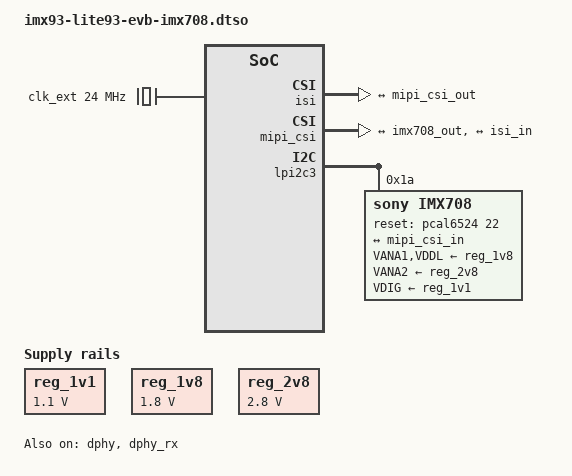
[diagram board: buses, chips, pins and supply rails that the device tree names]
// SPDX-License-Identifier: (GPL-2.0+ OR MIT)
/*
 * Copyright 2025 Wig Cheng <onlywig@gmail.com>
 */

#include <dt-bindings/gpio/gpio.h>

/dts-v1/;
/plugin/;

&{/} {
	clk_ext: clock-external {
		compatible = "fixed-clock";
		#clock-cells = <0>;
		clock-frequency = <24000000>;
		clock-output-names = "clk_ext";
	};

	reg_1v1: regulator-1v1 {
		compatible = "regulator-fixed";
		regulator-name = "1V1";
		regulator-min-microvolt = <1100000>;
		regulator-max-microvolt = <1100000>;
		regulator-always-on;
	};

	reg_1v8: regulator-1v8 {
		compatible = "regulator-fixed";
		regulator-name = "1V8";
		regulator-min-microvolt = <1800000>;
		regulator-max-microvolt = <1800000>;
		regulator-always-on;
	};

	reg_2v8: regulator-2v8 {
		compatible = "regulator-fixed";
		regulator-name = "2V8";
		regulator-min-microvolt = <2800000>;
		regulator-max-microvolt = <2800000>;
		regulator-always-on;
	};
};

&dphy {
	status = "okay";
};

&dphy_rx {
	status = "okay";
};

&isi {
	status = "okay";

	port {
		isi_in: endpoint {
			remote-endpoint = <&mipi_csi_out>;
		};
	};
};

&mipi_csi {
	snps,enable-embedded-data;
	dwc_color_16bit_enable;
	status = "okay";

	ports {
		#address-cells = <1>;
		#size-cells = <0>;

		port@0 {
			reg = <0>;

			mipi_csi_in: endpoint {
				remote-endpoint = <&imx708_out>;
				data-lanes = <1 2>;
				clock-lanes = <0>;
			};
		};

		port@1 {
			reg = <1>;

			mipi_csi_out: endpoint {
				remote-endpoint = <&isi_in>;
			};
		};
	};
};

&lpi2c3 {
	#address-cells = <1>;
	#size-cells = <0>;

	imx708: sensor@1a {
		compatible = "sony,imx708";
		imx708,low-fps-mode;

		reg = <0x1a>;
		reset-gpios = <&pcal6524 22 GPIO_ACTIVE_HIGH>;
		clocks = <&clk_ext>;
		VANA1-supply = <&reg_1v8>; /* 1.8v */
		VANA2-supply = <&reg_2v8>; /* 2.8v */
		VDIG-supply = <&reg_1v1>;  /* 1.1v */
		VDDL-supply = <&reg_1v8>;  /* 1.8v */

		port {
			imx708_out: endpoint {
				remote-endpoint = <&mipi_csi_in>;
				data-lanes = <1 2>;
				clock-noncontinuous;
				link-frequencies = /bits/ 64 <382500000>;
			};
		};
	};
};
